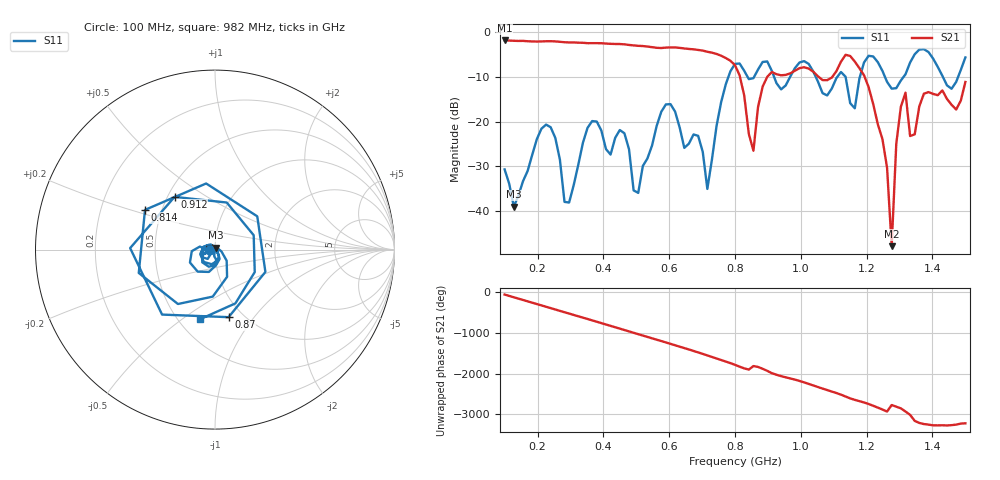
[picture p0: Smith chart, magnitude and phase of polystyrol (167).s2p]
! NanoVNA-App
! Date: 2025-09-25 15:31:11
! Start: 100MHz Stop: 1,5GHz Points: 101
! S-Parameter data: F S11 S21 S12 S22
# Hz S RI R 50
!  Frequency  S11_Real  S11_Imag  S21_Real  S21_Imag  S12_Real  S12_Imag  S22_Real  S22_Imag
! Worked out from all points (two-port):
!   101 points, 100 MHz to 1.5 GHz, reference 50 ohm
!   highest |S21| = -1.80 dB at 100 MHz (marker M1); lowest = -47.9 dB at 1.276 GHz (marker M2)
!   |S21| within 3 dB of the highest: start of sweep to 742.7 MHz
!   lowest |S11| = -39.1 dB at 128 MHz (marker M3), VSWR 1.02, Z = 50.3 + j1.07 ohm
!   |S11| at or under -10 dB: start of sweep to 779.8 MHz; 1.046 GHz to 1.111 GHz (64.94 MHz wide, 6.02 % of centre); 1.256 GHz to 1.312 GHz (55.94 MHz wide, 4.36 % of centre) (the widest 3 of 7)
!   S12 and S22 are empty: the file has one direction only
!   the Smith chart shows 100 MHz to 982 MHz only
!   S11 on the Smith chart (normalised r, x): 100 MHz: 0.94, -0.01; 814 MHz: 0.40, +0.22; 870 MHz: 0.86, -0.76; 912 MHz: 0.54, +0.37; 982 MHz: 0.63, -0.59
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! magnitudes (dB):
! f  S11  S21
! 100 MHz  -30.7  -1.8
! 128 MHz  -39.1  -1.9
! 212 MHz  -21.6  -2.0
! 282 MHz  -38.0  -2.2
! 338 MHz  -24.7  -2.3
! 464 MHz  -22.6  -2.7
! 506 MHz  -36.0  -3.0
! 576 MHz  -17.8  -3.5
! 716 MHz  -35.1  -4.3
! 800 MHz  -7.0  -7.4
! 814 MHz  -7.0  -9.6
! 856 MHz  -10.3  -26.5
! 870 MHz  -8.3  -16.7
! 912 MHz  -8.6  -8.9
! 982 MHz  -8.0  -8.6
! 1.038 GHz  -8.8  -8.8
! 1.192 GHz  -6.7  -9.6
! 1.248 GHz  -8.6  -23.9
! 1.276 GHz  -12.6  -47.9
! 1.29 GHz  -12.5  -24.9
! 1.318 GHz  -9.4  -13.5
! 1.5 GHz  -5.6  -11.1
